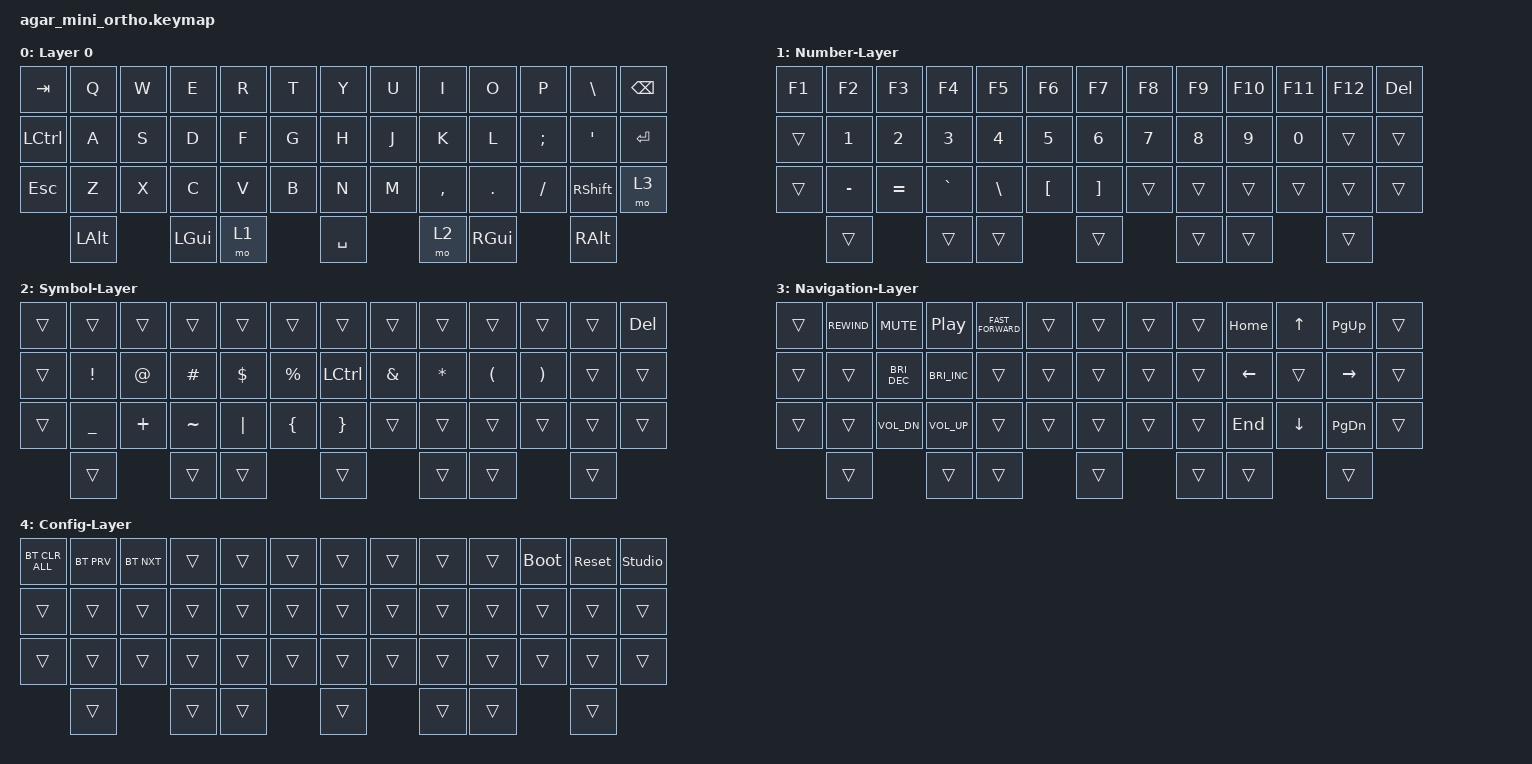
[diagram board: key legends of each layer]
// This file was generated from a template. Edit it to match your keyboard.
// See https://zmk.dev/docs/development/hardware-integration/new-shield for more instructions.

#include <behaviors.dtsi>
#include <dt-bindings/zmk/bt.h>
#include <dt-bindings/zmk/keys.h>

/ {
    // Define a default keymap here.
    // See https://zmk.dev/docs/development/hardware-integration/new-shield#default-keymap.

    combos {
        compatible = "zmk,combos";

        Config-Layer {
            bindings = <&mo 4>;
            key-positions = <41 43>;
        };
    };

    keymap {
        compatible = "zmk,keymap";

        Base-Layer {
            display-name = "Layer 0";
            bindings = <
&kp TAB     &kp Q     &kp W  &kp E     &kp R  &kp T  &kp Y      &kp U  &kp I      &kp O       &kp P          &kp BACKSLASH     &kp BACKSPACE
&kp LCTRL   &kp A     &kp S  &kp D     &kp F  &kp G  &kp H      &kp J  &kp K      &kp L       &kp SEMICOLON  &kp SINGLE_QUOTE  &kp ENTER
&kp ESCAPE  &kp Z     &kp X  &kp C     &kp V  &kp B  &kp N      &kp M  &kp COMMA  &kp PERIOD  &kp SLASH      &kp RSHIFT        &mo 3
            &kp LALT         &kp LGUI  &mo 1         &kp SPACE         &mo 2      &kp RGUI                   &kp RALT
            >;
        };

        Number-Layer {
            bindings = <
&kp F1  &kp F2     &kp F3     &kp F4     &kp F5    &kp F6            &kp F7             &kp F8  &kp F9  &kp F10  &kp F11  &kp F12  &kp DEL
&trans  &kp N1     &kp N2     &kp N3     &kp N4    &kp N5            &kp N6             &kp N7  &kp N8  &kp N9   &kp N0   &trans   &trans
&trans  &kp MINUS  &kp EQUAL  &kp GRAVE  &kp BSLH  &kp LEFT_BRACKET  &kp RIGHT_BRACKET  &trans  &trans  &trans   &trans   &trans   &trans
        &trans                &trans     &trans                      &trans                     &trans  &trans            &trans
            >;
        };

        Symbol-Layer {
            bindings = <
&trans  &trans           &trans       &trans     &trans      &trans          &trans           &trans         &trans        &trans                &trans                 &trans  &kp DEL
&trans  &kp EXCLAMATION  &kp AT_SIGN  &kp HASH   &kp DOLLAR  &kp PERCENT     &kp LCTRL        &kp AMPERSAND  &kp ASTERISK  &kp LEFT_PARENTHESIS  &kp RIGHT_PARENTHESIS  &trans  &trans
&trans  &kp UNDERSCORE   &kp PLUS     &kp TILDE  &kp PIPE    &kp LEFT_BRACE  &kp RIGHT_BRACE  &trans         &trans        &trans                &trans                 &trans  &trans
        &trans                        &trans     &trans                      &trans                          &trans        &trans                                       &trans
            >;
        };

        Navigation-Layer {
            bindings = <
&trans  &kp C_REWIND  &kp K_MUTE            &kp C_PLAY_PAUSE      &kp C_FAST_FORWARD  &trans  &trans  &trans  &trans  &kp HOME  &kp UP_ARROW  &kp PAGE_UP    &trans
&trans  &trans        &kp C_BRIGHTNESS_DEC  &kp C_BRIGHTNESS_INC  &trans              &trans  &trans  &trans  &trans  &kp LEFT  &trans        &kp RIGHT      &trans
&trans  &trans        &kp C_VOL_DN          &kp C_VOLUME_UP       &trans              &trans  &trans  &trans  &trans  &kp END   &kp DOWN      &kp PAGE_DOWN  &trans
        &trans                              &trans                &trans                      &trans          &trans  &trans                  &trans
            >;
        };

        Config-Layer {
            bindings = <
&bt BT_CLR_ALL  &bt BT_PRV  &bt BT_NXT  &trans  &trans  &trans  &trans  &trans  &trans  &trans  &bootloader  &sys_reset  &studio_unlock
&trans          &trans      &trans      &trans  &trans  &trans  &trans  &trans  &trans  &trans  &trans       &trans      &trans
&trans          &trans      &trans      &trans  &trans  &trans  &trans  &trans  &trans  &trans  &trans       &trans      &trans
                &trans                  &trans  &trans          &trans          &trans  &trans               &trans
            >;
        };
    };
};
